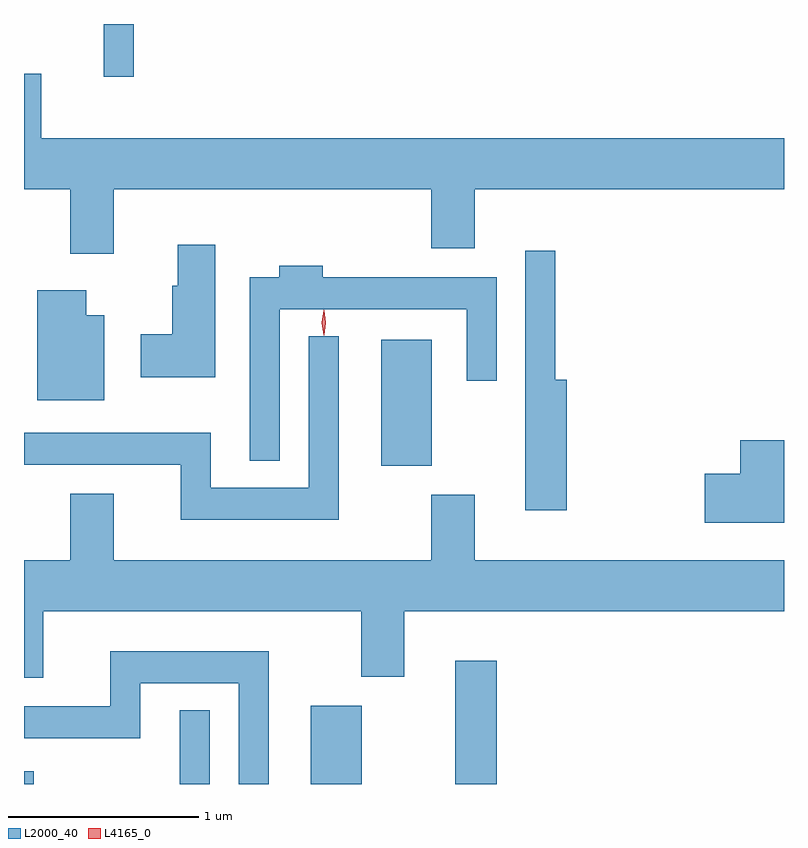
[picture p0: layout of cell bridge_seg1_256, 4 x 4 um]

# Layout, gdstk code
import gdstk
lib = gdstk.Library(unit=1e-6, precision=1e-09)
def R(c, l, rs):  # rectangles x0, y0, x1, y1
    for r in rs: c.add(gdstk.rectangle(r[:2], r[2:], *l))
def P(c, l, *ps):  # polygons
    for p in ps: c.add(gdstk.Polygon(p, *l))
L2000_40 = (2000, 40)
L4165_0 = (4165, 0)

bridge_seg1_256 = lib.new_cell('bridge_seg1_256')
R(bridge_seg1_256, L2000_40, [(962.997,892.006,963.049,892.074), (963.816,892.006,963.974,892.393), (964.506,892.006,964.774,892.419), (965.266,892.006,965.484,892.654), (964.876,893.681,965.144,894.344), (963.416,895.728,963.574,896.006)])
P(bridge_seg1_256, L2000_40, [(963.469,895.136),(965.141,895.136),(965.141,894.826),(965.369,894.826),(965.369,895.136),(966.997,895.136),(966.997,895.404),(963.089,895.404),(963.089,895.744),(962.997,895.744),(962.997,895.136),(963.241,895.136),(963.241,894.796),(963.469,894.796)],
  [(964.004,894.844),(963.806,894.844),(963.806,894.629),(963.776,894.629),(963.776,894.374),(963.611,894.374),(963.611,894.146),(964.004,894.146)],
  [(965.854,894.134),(965.794,894.134),(965.794,894.813),(965.636,894.813),(965.636,893.446),(965.854,893.446)],
  [(964.344,894.506),(965.326,894.506),(965.326,894.128),(965.484,894.128),(965.484,894.674),(964.569,894.674),(964.569,894.734),(964.341,894.734),(964.341,894.674),(964.186,894.674),(964.186,893.708),(964.344,893.708)],
  [(963.419,894.474),(963.324,894.474),(963.324,894.604),(963.066,894.604),(963.066,894.026),(963.419,894.026)],
  [(964.654,894.363),(964.496,894.363),(964.496,893.564),(963.979,893.564),(963.979,893.854),(962.997,893.854),(962.997,893.686),(963.821,893.686),(963.821,893.396),(964.654,893.396)],
  [(966.997,893.814),(966.766,893.814),(966.766,893.639),(966.581,893.639),(966.581,893.381),(966.997,893.381)],
  [(963.099,892.916),(964.771,892.916),(964.771,892.571),(964.999,892.571),(964.999,892.916),(966.997,892.916),(966.997,893.184),(965.369,893.184),(965.369,893.529),(965.141,893.529),(965.141,893.184),(963.469,893.184),(963.469,893.534),(963.241,893.534),(963.241,893.184),(962.997,893.184),(962.997,892.566),(963.099,892.566)],
  [(964.284,892.704),(963.451,892.704),(963.451,892.414),(962.997,892.414),(962.997,892.246),(963.609,892.246),(963.609,892.536),(964.126,892.536),(964.126,892.006),(964.284,892.006)])
P(bridge_seg1_256, L4165_0, [(964.575,894.367),(964.575,894.368),(964.565,894.434),(964.575,894.5),(964.575,894.501),(964.576,894.5),(964.585,894.434),(964.576,894.368)])

lib.write_gds('bridge_seg1_256.gds')
